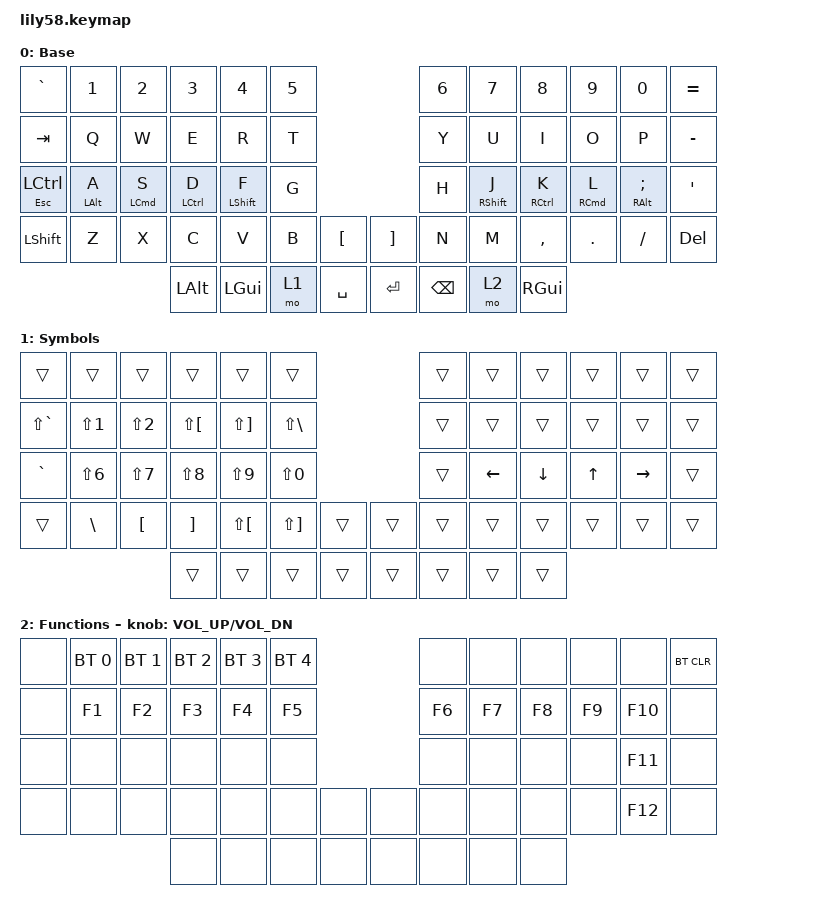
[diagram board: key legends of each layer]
/*
 * Copyright (c) 2020 The ZMK Contributors
 *
 * SPDX-License-Identifier: MIT
 */

#include <behaviors.dtsi>
#include <dt-bindings/zmk/bt.h>
#include <dt-bindings/zmk/keys.h>

/ {
    behaviors {
        home_row_mods_left: home_row_mods_left {
            compatible = "zmk,behavior-hold-tap";
            label = "HOME_ROW_MODS_LEFT";
            bindings = <&kp>, <&kp>;

            #binding-cells = <2>;
            tapping-term-ms = <280>;
            flavor = "balanced";
            hold-trigger-key-positions = <25 26 27 28>;
            quick-tap-ms = <175>;
            require-prior-idle-ms = <150>;
            hold-trigger-on-release;
        };

        home_row_mods_right: home_row_mods_right {
            compatible = "zmk,behavior-hold-tap";
            label = "HOME_ROW_MODS_RIGHT";
            bindings = <&kp>, <&kp>;

            #binding-cells = <2>;
            tapping-term-ms = <280>;
            quick-tap-ms = <175>;
            flavor = "balanced";
            hold-trigger-key-positions = <31 32 33 34>;
            hold-trigger-on-release;
            require-prior-idle-ms = <150>;
        };
    };

    keymap {
        compatible = "zmk,keymap";

        default_layer {
            // ------------------------------------------------------------------------------------------------------------
            // |  ESC  |  1  |  2  |  3   |  4   |  5   |                   |  6   |  7    |  8    |  9   |   0   |   `   |
            // |  TAB  |  Q  |  W  |  E   |  R   |  T   |                   |  Y   |  U    |  I    |  O   |   P   |   -   |
            // |  CTRL |  A  |  S  |  D   |  F   |  G   |                   |  H   |  J    |  K    |  L   |   ;   |   '   |
            // | SHIFT |  Z  |  X  |  C   |  V   |  B   |   "["  |  |  "]"  |  N   |  M    |  ,    |  .   |   /   | SHIFT |
            //                     | ALT  | GUI  | LOWER|  SPACE |  | ENTER | RAISE| BSPC  | GUI   |

            display-name = "Base";
            bindings = <
&kp GRAVE             &kp N1                          &kp N2                              &kp N3                              &kp N4                            &kp N5                         &kp N6         &kp N7                              &kp N8                                &kp N9                                &kp N0                               &kp EQUAL
&kp TAB               &kp Q                           &kp W                               &kp E                               &kp R                             &kp T                          &kp Y          &kp U                               &kp I                                 &kp O                                 &kp P                                &kp MINUS
&mt ESC LEFT_CONTROL  &home_row_mods_left LEFT_ALT A  &home_row_mods_left LEFT_COMMAND S  &home_row_mods_left LEFT_CONTROL D  &home_row_mods_left LEFT_SHIFT F  &kp G                          &kp H          &home_row_mods_right RIGHT_SHIFT J  &home_row_mods_right RIGHT_CONTROL K  &home_row_mods_right RIGHT_COMMAND L  &home_row_mods_right RIGHT_ALT SEMI  &kp SINGLE_QUOTE
&kp LSHFT             &kp Z                           &kp X                               &kp C                               &kp V                             &kp B   &kp LBKT     &kp RBKT  &kp N          &kp M                               &kp COMMA                             &kp DOT                               &kp FSLH                             &kp DELETE
                                                                                          &kp LALT                            &kp LGUI                          &mo 1   &kp SPACE    &kp RET   &kp BACKSPACE  &mo 2                               &kp RGUI
            >;
        };

        symbols {
            // ------------------------------------------------------------------------------------------------------------
            // | BTCLR | BT1 | BT2 |  BT3 |  BT4 |  BT5 |                   |      |       |       |      |       |       |
            // |  F1   |  F2 |  F3 |  F4  |  F5  |  F6  |                   |  F7  |  F8   |  F9   |  F10 |  F11  |  F12  |
            // |   `   |  !  |  @  |  #   |  $   |  %   |                   |  ^   |  &    |  *    |  (   |   )   |   ~   |
            // |       |     |     |      |      |      |        |  |       |      |  _    |  +    |  {   |   }   |  "|"  |
            //                     |      |      |      |        |  |       |      |       |       |

            display-name = "Symbols";
            bindings = <
&trans         &trans            &trans            &trans                &trans                 &trans                                   &trans  &trans          &trans    &trans        &trans     &trans
&kp LS(GRAVE)  &kp LS(NUMBER_1)  &kp LS(NUMBER_2)  &kp LS(LEFT_BRACKET)  &kp LS(RIGHT_BRACKET)  &kp LS(BACKSLASH)                        &trans  &trans          &trans    &trans        &trans     &trans
&kp GRAVE      &kp LS(NUMBER_6)  &kp LS(NUMBER_7)  &kp LS(NUMBER_8)      &kp LS(NUMBER_9)       &kp LS(NUMBER_0)                         &trans  &kp LEFT_ARROW  &kp DOWN  &kp UP_ARROW  &kp RIGHT  &trans
&trans         &kp BACKSLASH     &kp LEFT_BRACKET  &kp RIGHT_BRACKET     &kp LS(LEFT_BRACKET)   &kp LS(RIGHT_BRACKET)  &trans    &trans  &trans  &trans          &trans    &trans        &trans     &trans
                                                   &trans                &trans                 &trans                 &trans    &trans  &trans  &trans          &trans
            >;
        };

        function {
            // ------------------------------------------------------------------------------------------------------------
            // |       |     |     |      |      |      |                   |      |       |       |      |       |       |
            // |   `   |  1  |  2  |  3   |  4   |  5   |                   |  6   |   7   |   8   |  9   |   0   |       |
            // |   F1  |  F2 |  F3 |  F4  |  F5  |  F6  |                   |      |   <-  |   v   |  ^   |  ->   |       |
            // |   F7  |  F8 |  F9 |  F10 |  F11 |  F12 |        |  |       |  +   |   -   |   =   |  [   |   ]   |   \   |
            //                     |      |      |      |        |  |       |      |       |       |

            display-name = "Functions";
            bindings = <
&none  &bt BT_SEL 0  &bt BT_SEL 1  &bt BT_SEL 2  &bt BT_SEL 3  &bt BT_SEL 4                  &none   &none   &none   &none   &none    &bt BT_CLR
&none  &kp F1        &kp F2        &kp F3        &kp F4        &kp F5                        &kp F6  &kp F7  &kp F8  &kp F9  &kp F10  &none
&none  &none         &none         &none         &none         &none                         &none   &none   &none   &none   &kp F11  &none
&none  &none         &none         &none         &none         &none         &none    &none  &none   &none   &none   &none   &kp F12  &none
                                   &none         &none         &none         &none    &none  &none   &none   &none
            >;

            sensor-bindings = <&inc_dec_kp C_VOL_UP C_VOL_DN>;
        };

        extra_1 { status = "reserved"; };

        extra_2 { status = "reserved"; };

        extra_3 { status = "reserved"; };
    };
};
